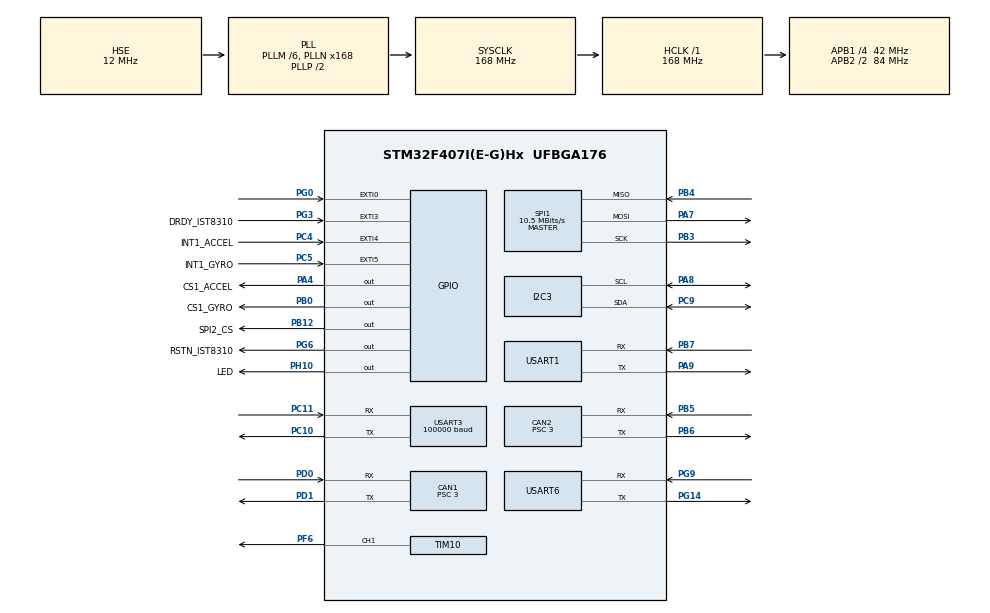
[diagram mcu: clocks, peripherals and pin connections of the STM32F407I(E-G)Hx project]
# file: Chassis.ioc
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CAN1.BS1=CAN_BS1_10TQ
CAN1.BS2=CAN_BS2_3TQ
CAN1.CalculateBaudRate=1000000
CAN1.CalculateTimeBit=1000
CAN1.CalculateTimeQuantum=71.42857142857143
CAN1.Prescaler=3
CAN2.BS1=CAN_BS1_10TQ
CAN2.BS2=CAN_BS2_3TQ
CAN2.CalculateBaudRate=1000000
CAN2.CalculateTimeBit=1000
CAN2.CalculateTimeQuantum=71.42857142857143
CAN2.Prescaler=3
Dma.Request0=SPI1_TX
Dma.Request1=USART3_RX
Dma.Request2=USART3_TX
Dma.Request3=USART6_RX
Dma.Request4=USART6_TX
Dma.Request5=USART1_RX
Dma.Request6=USART1_TX
Dma.Request7=SPI1_RX
Dma.SPI1_RX.7.Direction=DMA_PERIPH_TO_MEMORY
Dma.SPI1_RX.7.FIFOMode=DMA_FIFOMODE_DISABLE
Dma.SPI1_RX.7.Instance=DMA2_Stream2
Dma.SPI1_RX.7.MemDataAlignment=DMA_MDATAALIGN_BYTE
Dma.SPI1_RX.7.MemInc=DMA_MINC_ENABLE
Dma.SPI1_RX.7.Mode=DMA_NORMAL
Dma.SPI1_RX.7.PeriphDataAlignment=DMA_PDATAALIGN_BYTE
Dma.SPI1_RX.7.PeriphInc=DMA_PINC_DISABLE
Dma.SPI1_RX.7.Priority=DMA_PRIORITY_VERY_HIGH
Dma.SPI1_TX.0.Direction=DMA_MEMORY_TO_PERIPH
Dma.SPI1_TX.0.FIFOMode=DMA_FIFOMODE_DISABLE
Dma.SPI1_TX.0.Instance=DMA2_Stream3
Dma.SPI1_TX.0.MemDataAlignment=DMA_MDATAALIGN_BYTE
Dma.SPI1_TX.0.MemInc=DMA_MINC_ENABLE
Dma.SPI1_TX.0.Mode=DMA_NORMAL
Dma.SPI1_TX.0.PeriphDataAlignment=DMA_PDATAALIGN_BYTE
Dma.SPI1_TX.0.PeriphInc=DMA_PINC_DISABLE
Dma.SPI1_TX.0.Priority=DMA_PRIORITY_HIGH
Dma.USART1_RX.5.Direction=DMA_PERIPH_TO_MEMORY
Dma.USART1_RX.5.FIFOMode=DMA_FIFOMODE_DISABLE
Dma.USART1_RX.5.Instance=DMA2_Stream5
Dma.USART1_RX.5.MemDataAlignment=DMA_MDATAALIGN_BYTE
Dma.USART1_RX.5.MemInc=DMA_MINC_ENABLE
Dma.USART1_RX.5.Mode=DMA_NORMAL
Dma.USART1_RX.5.PeriphDataAlignment=DMA_PDATAALIGN_BYTE
Dma.USART1_RX.5.PeriphInc=DMA_PINC_DISABLE
Dma.USART1_RX.5.Priority=DMA_PRIORITY_LOW
Dma.USART1_TX.6.Direction=DMA_MEMORY_TO_PERIPH
Dma.USART1_TX.6.FIFOMode=DMA_FIFOMODE_DISABLE
Dma.USART1_TX.6.Instance=DMA2_Stream7
Dma.USART1_TX.6.MemDataAlignment=DMA_MDATAALIGN_BYTE
Dma.USART1_TX.6.MemInc=DMA_MINC_ENABLE
Dma.USART1_TX.6.Mode=DMA_NORMAL
Dma.USART1_TX.6.PeriphDataAlignment=DMA_PDATAALIGN_BYTE
Dma.USART1_TX.6.PeriphInc=DMA_PINC_DISABLE
Dma.USART1_TX.6.Priority=DMA_PRIORITY_LOW
Dma.USART3_RX.1.Direction=DMA_PERIPH_TO_MEMORY
Dma.USART3_RX.1.FIFOMode=DMA_FIFOMODE_DISABLE
Dma.USART3_RX.1.Instance=DMA1_Stream1
Dma.USART3_RX.1.MemDataAlignment=DMA_MDATAALIGN_BYTE
Dma.USART3_RX.1.MemInc=DMA_MINC_ENABLE
Dma.USART3_RX.1.Mode=DMA_CIRCULAR
Dma.USART3_RX.1.PeriphDataAlignment=DMA_PDATAALIGN_BYTE
Dma.USART3_RX.1.PeriphInc=DMA_PINC_DISABLE
Dma.USART3_RX.1.Priority=DMA_PRIORITY_VERY_HIGH
Dma.USART3_TX.2.Direction=DMA_MEMORY_TO_PERIPH
Dma.USART3_TX.2.FIFOMode=DMA_FIFOMODE_DISABLE
Dma.USART3_TX.2.Instance=DMA1_Stream3
Dma.USART3_TX.2.MemDataAlignment=DMA_MDATAALIGN_BYTE
Dma.USART3_TX.2.MemInc=DMA_MINC_ENABLE
Dma.USART3_TX.2.Mode=DMA_NORMAL
Dma.USART3_TX.2.PeriphDataAlignment=DMA_PDATAALIGN_BYTE
Dma.USART3_TX.2.PeriphInc=DMA_PINC_DISABLE
Dma.USART3_TX.2.Priority=DMA_PRIORITY_VERY_HIGH
Dma.USART6_RX.3.Direction=DMA_PERIPH_TO_MEMORY
Dma.USART6_RX.3.FIFOMode=DMA_FIFOMODE_DISABLE
Dma.USART6_RX.3.Instance=DMA2_Stream1
Dma.USART6_RX.3.MemDataAlignment=DMA_MDATAALIGN_BYTE
Dma.USART6_RX.3.MemInc=DMA_MINC_ENABLE
Dma.USART6_RX.3.Mode=DMA_CIRCULAR
Dma.USART6_RX.3.PeriphDataAlignment=DMA_PDATAALIGN_BYTE
Dma.USART6_RX.3.PeriphInc=DMA_PINC_DISABLE
Dma.USART6_RX.3.Priority=DMA_PRIORITY_LOW
Dma.USART6_TX.4.Direction=DMA_MEMORY_TO_PERIPH
Dma.USART6_TX.4.FIFOMode=DMA_FIFOMODE_DISABLE
Dma.USART6_TX.4.Instance=DMA2_Stream6
Dma.USART6_TX.4.MemDataAlignment=DMA_MDATAALIGN_BYTE
Dma.USART6_TX.4.MemInc=DMA_MINC_ENABLE
Dma.USART6_TX.4.Mode=DMA_NORMAL
Dma.USART6_TX.4.PeriphDataAlignment=DMA_PDATAALIGN_BYTE
Dma.USART6_TX.4.PeriphInc=DMA_PINC_DISABLE
Dma.USART6_TX.4.Priority=DMA_PRIORITY_LOW
FREERTOS.Tasks01=defaultTask,0,128,StartDefaultTask,Default,NULL,Dynamic,NULL,NULL
I2C3.I2C_Mode=I2C_Fast
Mcu.Family=STM32F4
Mcu.Name=STM32F407I(E-G)Hx
Mcu.Package=UFBGA176
NVIC.CAN1_RX0_IRQn=true\:5\:0\:false\:false\:true\:true\:true\:true\:true
NVIC.CAN1_RX1_IRQn=true\:5\:0\:false\:false\:true\:true\:true\:true\:true
NVIC.CAN1_TX_IRQn=true\:5\:0\:false\:false\:true\:true\:true\:true\:true
NVIC.CAN2_RX0_IRQn=true\:5\:0\:true\:false\:true\:true\:true\:true\:true
NVIC.CAN2_TX_IRQn=true\:5\:0\:true\:false\:true\:true\:true\:true\:true
NVIC.DMA1_Stream1_IRQn=true\:5\:0\:false\:false\:true\:true\:false\:true\:true
NVIC.DMA1_Stream3_IRQn=true\:5\:0\:false\:false\:true\:true\:false\:true\:true
NVIC.DMA2_Stream1_IRQn=true\:5\:0\:false\:false\:true\:true\:false\:true\:true
NVIC.DMA2_Stream2_IRQn=true\:5\:0\:false\:false\:true\:true\:false\:true\:true
NVIC.DMA2_Stream3_IRQn=true\:5\:0\:false\:false\:true\:true\:false\:true\:true
NVIC.DMA2_Stream5_IRQn=true\:5\:0\:false\:false\:true\:true\:false\:true\:true
NVIC.DMA2_Stream6_IRQn=true\:5\:0\:false\:false\:true\:true\:false\:true\:true
NVIC.DMA2_Stream7_IRQn=true\:5\:0\:false\:false\:true\:true\:false\:true\:true
NVIC.EXTI0_IRQn=true\:6\:0\:true\:false\:true\:true\:true\:true\:true
NVIC.EXTI4_IRQn=true\:5\:0\:false\:false\:true\:true\:true\:true\:true
NVIC.EXTI9_5_IRQn=true\:5\:0\:false\:false\:true\:true\:true\:true\:true
NVIC.PriorityGroup=NVIC_PRIORITYGROUP_4
NVIC.SPI1_IRQn=true\:5\:0\:false\:false\:true\:true\:true\:true\:true
NVIC.TIM3_IRQn=true\:15\:0\:false\:false\:true\:false\:false\:true\:true
NVIC.TimeBase=TIM3_IRQn
NVIC.TimeBaseIP=TIM3
NVIC.USART1_IRQn=true\:5\:0\:false\:false\:true\:true\:true\:true\:true
NVIC.USART3_IRQn=true\:5\:0\:false\:false\:true\:true\:true\:true\:true
NVIC.USART6_IRQn=true\:5\:0\:false\:false\:true\:true\:true\:true\:true
PA13.Mode=Serial_Wire
PA13.Signal=SYS_JTMS-SWDIO
PA14.Mode=Serial_Wire
PA14.Signal=SYS_JTCK-SWCLK
PA4.GPIO_Label=CS1_ACCEL
PA4.GPIO_ModeDefaultOutputPP=GPIO_MODE_OUTPUT_PP
PA4.GPIO_PuPd=GPIO_PULLUP
PA4.GPIO_Speed=GPIO_SPEED_FREQ_HIGH
PA4.PinState=GPIO_PIN_SET
PA4.Signal=GPIO_Output
PA7.GPIO_PuPd=GPIO_PULLUP
PA7.Mode=Full_Duplex_Master
PA7.Signal=SPI1_MOSI
PA8.Mode=I2C
PA8.Signal=I2C3_SCL
PA9.Mode=Asynchronous
PA9.Signal=USART1_TX
PB0.GPIO_Label=CS1_GYRO
PB0.GPIO_ModeDefaultOutputPP=GPIO_MODE_OUTPUT_PP
PB0.GPIO_PuPd=GPIO_PULLUP
PB0.GPIO_Speed=GPIO_SPEED_FREQ_HIGH
PB0.PinState=GPIO_PIN_SET
PB0.Signal=GPIO_Output
PB12.GPIO_Label=SPI2_CS
PB12.GPIO_ModeDefaultOutputPP=GPIO_MODE_OUTPUT_PP
PB12.GPIO_PuPd=GPIO_PULLUP
PB12.GPIO_Speed=GPIO_SPEED_FREQ_MEDIUM
PB12.PinState=GPIO_PIN_SET
PB12.Signal=GPIO_Output
PB3.GPIO_PuPd=GPIO_PULLUP
PB3.Mode=Full_Duplex_Master
PB3.Signal=SPI1_SCK
PB4.GPIO_PuPd=GPIO_PULLUP
PB4.Mode=Full_Duplex_Master
PB4.Signal=SPI1_MISO
PB5.Mode=CAN_Activate
PB5.Signal=CAN2_RX
PB6.Mode=CAN_Activate
PB6.Signal=CAN2_TX
PB7.Mode=Asynchronous
PB7.Signal=USART1_RX
PC10.Mode=Asynchronous
PC10.Signal=USART3_TX
PC11.Mode=Asynchronous
PC11.Signal=USART3_RX
PC4.GPIO_Label=INT1_ACCEL
PC4.GPIO_PuPd=GPIO_PULLUP
PC4.Signal=GPXTI4
PC5.GPIO_Label=INT1_GYRO
PC5.GPIO_PuPd=GPIO_PULLUP
PC5.Signal=GPXTI5
PC9.Mode=I2C
PC9.Signal=I2C3_SDA
PD0.Mode=CAN_Activate
PD0.Signal=CAN1_RX
PD1.Mode=CAN_Activate
PD1.Signal=CAN1_TX
PF6.GPIO_PuPd=GPIO_PULLUP
PF6.GPIO_Speed=GPIO_SPEED_FREQ_HIGH
PF6.Signal=S_TIM10_CH1
PG0.GPIO_PuPd=GPIO_PULLUP
PG0.Signal=GPXTI0
PG14.Mode=Asynchronous
PG14.Signal=USART6_TX
PG3.GPIO_Label=DRDY_IST8310
PG3.GPIO_PuPd=GPIO_PULLUP
PG3.Signal=GPXTI3
PG6.GPIO_Label=RSTN_IST8310
PG6.GPIO_PuPd=GPIO_PULLUP
PG6.GPIO_Speed=GPIO_SPEED_FREQ_MEDIUM
PG6.PinState=GPIO_PIN_SET
PG6.Signal=GPIO_Output
PG9.Mode=Asynchronous
PG9.Signal=USART6_RX
PH0-OSC_IN.Mode=HSE-External-Oscillator
PH0-OSC_IN.Signal=RCC_OSC_IN
PH1-OSC_OUT.Mode=HSE-External-Oscillator
PH1-OSC_OUT.Signal=RCC_OSC_OUT
PH10.GPIO_Label=LED
PH10.GPIO_ModeDefaultOutputPP=GPIO_MODE_OUTPUT_PP
PH10.GPIO_PuPd=GPIO_PULLUP
PH10.PinState=GPIO_PIN_SET
PH10.Signal=GPIO_Output
ProjectManager.HeapSize=0x200
ProjectManager.StackSize=0x400
ProjectManager.TargetToolchain=MDK-ARM V5.32
RCC.48MHZClocksFreq_Value=84000000
RCC.AHBFreq_Value=168000000
RCC.APB1CLKDivider=RCC_HCLK_DIV4
RCC.APB1Freq_Value=42000000
RCC.APB1TimFreq_Value=84000000
RCC.APB2CLKDivider=RCC_HCLK_DIV2
RCC.APB2Freq_Value=84000000
RCC.APB2TimFreq_Value=168000000
RCC.CortexFreq_Value=168000000
RCC.HCLKFreq_Value=168000000
RCC.HSE_VALUE=12000000
RCC.HSI_VALUE=16000000
RCC.LSE_VALUE=32768
RCC.PLLM=6
RCC.PLLN=168
RCC.PLLSourceVirtual=RCC_PLLSOURCE_HSE
RCC.SYSCLKFreq_VALUE=168000000
RCC.SYSCLKSource=RCC_SYSCLKSOURCE_PLLCLK
RCC.VCOOutputFreq_Value=336000000
SH.S_TIM10_CH1.0=TIM10_CH1,PWM Generation1 CH1
SPI1.BaudRatePrescaler=SPI_BAUDRATEPRESCALER_8
SPI1.CLKPhase=SPI_PHASE_2EDGE
SPI1.CLKPolarity=SPI_POLARITY_HIGH
SPI1.CalculateBaudRate=10.5 MBits/s
SPI1.Direction=SPI_DIRECTION_2LINES
SPI1.Mode=SPI_MODE_MASTER
SPI1.VirtualType=VM_MASTER
TIM10.Channel=TIM_CHANNEL_1
USART1.VirtualMode=VM_ASYNC
USART3.BaudRate=100000
USART3.VirtualMode=VM_ASYNC
USART6.VirtualMode=VM_ASYNC
VP_FREERTOS_VS_CMSIS_V1.Mode=CMSIS_V1
VP_SYS_VS_tim3.Mode=TIM3
VP_TIM10_VS_ClockSourceINT.Mode=Enable_Timer
board=custom

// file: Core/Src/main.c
/* USER CODE BEGIN Header */
/**
  ******************************************************************************
  * @file           : main.c
  * @brief          : Main program body
  ******************************************************************************
  * @attention
  *
  * Copyright (c) 2023 STMicroelectronics.
  * All rights reserved.
  *
  * This software is licensed under terms that can be found in the LICENSE file
  * in the root directory of this software component.
  * If no LICENSE file comes with this software, it is provided AS-IS.
  *
  ******************************************************************************
  */
/* USER CODE END Header */
#include "main.h"
#include "cmsis_os.h"
#include "can.h"
#include "dma.h"
#include "i2c.h"
#include "spi.h"
#include "tim.h"
#include "usart.h"
#include "gpio.h"

/* USER CODE BEGIN Includes */
#include "drv_usart.h"
#include "user_can.h"
#include "communication.h"
#include "string.h"
#include "bsp_delay.h"
/* USER CODE END Includes */

void SystemClock_Config(void);
void MX_FREERTOS_Init(void);

/* USER CODE BEGIN 0 */
uint8_t Rx[128]; //导航接受�?
/* USER CODE END 0 */

int main(void)
{

  /* MCU Configuration--------------------------------------------------------*/

  /* Reset of all peripherals, Initializes the Flash interface and the Systick. */
  HAL_Init();

  /* Configure the system clock */
  SystemClock_Config();

  /* Initialize all configured peripherals */
  MX_GPIO_Init();
  MX_DMA_Init();
  MX_CAN2_Init();
  MX_CAN1_Init();
  MX_SPI1_Init();
  MX_I2C3_Init();
  MX_USART3_UART_Init();
  MX_USART6_UART_Init();
  MX_USART1_UART_Init();
  MX_TIM10_Init();
  /* USER CODE BEGIN 2 */
	delay_init();
	HAL_TIM_PWM_Start(&htim10,TIM_CHANNEL_1);
	CAN1_Init();
	CAN2_Init();
  HAL_GPIO_WritePin(LED_GPIO_Port, LED_Pin, GPIO_PIN_SET);
	USART3_Init();

	__HAL_UART_ENABLE_IT(&huart1,UART_IT_IDLE); //导航数据接收
	HAL_UART_Receive_DMA(&huart1,(uint8_t *)Rx,sizeof(Rx));
  /* USER CODE END 2 */

  /* Call init function for freertos objects (in freertos.c) */
  MX_FREERTOS_Init();

  /* Start scheduler */
  osKernelStart();

  /* We should never get here as control is now taken by the scheduler */
  /* Infinite loop */
  while (1)
  {

  }
}

void SystemClock_Config(void)
{
  RCC_OscInitTypeDef RCC_OscInitStruct = {0};
  RCC_ClkInitTypeDef RCC_ClkInitStruct = {0};

  /** Configure the main internal regulator output voltage
  */
  __HAL_RCC_PWR_CLK_ENABLE();
  __HAL_PWR_VOLTAGESCALING_CONFIG(PWR_REGULATOR_VOLTAGE_SCALE1);

  /** Initializes the RCC Oscillators according to the specified parameters
  * in the RCC_OscInitTypeDef structure.
  */
  RCC_OscInitStruct.OscillatorType = RCC_OSCILLATORTYPE_HSE;
  RCC_OscInitStruct.HSEState = RCC_HSE_ON;
  RCC_OscInitStruct.PLL.PLLState = RCC_PLL_ON;
  RCC_OscInitStruct.PLL.PLLSource = RCC_PLLSOURCE_HSE;
  RCC_OscInitStruct.PLL.PLLM = 6;
  RCC_OscInitStruct.PLL.PLLN = 168;
  RCC_OscInitStruct.PLL.PLLP = RCC_PLLP_DIV2;
  RCC_OscInitStruct.PLL.PLLQ = 4;
  if (HAL_RCC_OscConfig(&RCC_OscInitStruct) != HAL_OK)
  {
    Error_Handler();
  }

  /** Initializes the CPU, AHB and APB buses clocks
  */
  RCC_ClkInitStruct.ClockType = RCC_CLOCKTYPE_HCLK|RCC_CLOCKTYPE_SYSCLK
                              |RCC_CLOCKTYPE_PCLK1|RCC_CLOCKTYPE_PCLK2;
  RCC_ClkInitStruct.SYSCLKSource = RCC_SYSCLKSOURCE_PLLCLK;
  RCC_ClkInitStruct.AHBCLKDivider = RCC_SYSCLK_DIV1;
  RCC_ClkInitStruct.APB1CLKDivider = RCC_HCLK_DIV4;
  RCC_ClkInitStruct.APB2CLKDivider = RCC_HCLK_DIV2;

  if (HAL_RCC_ClockConfig(&RCC_ClkInitStruct, FLASH_LATENCY_5) != HAL_OK)
  {
    Error_Handler();
  }
}

void HAL_TIM_PeriodElapsedCallback(TIM_HandleTypeDef *htim)
{
  if (htim->Instance == TIM3) {
    HAL_IncTick();
  }
}

void Error_Handler(void)
{
  __disable_irq();
  while (1)
  {
  }
}

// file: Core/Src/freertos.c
/* USER CODE BEGIN Header */
/**
  ******************************************************************************
  * File Name          : freertos.c
  * Description        : Code for freertos applications
  ******************************************************************************
  * @attention
  *
  * Copyright (c) 2023 STMicroelectronics.
  * All rights reserved.
  *
  * This software is licensed under terms that can be found in the LICENSE file
  * in the root directory of this software component.
  * If no LICENSE file comes with this software, it is provided AS-IS.
  *
  ******************************************************************************
  */
/* USER CODE END Header */

#include "FreeRTOS.h"
#include "task.h"
#include "main.h"
#include "cmsis_os.h"

/* USER CODE BEGIN Includes */
#include "chassis.h"
#include "rc_potocal.h"
#include "INS_task.h"
/* USER CODE END Includes */

/* USER CODE BEGIN Variables */
osThreadId ChassisHandle;
osThreadId InsTaskHandle;
/* USER CODE END Variables */
osThreadId defaultTaskHandle;

void StartDefaultTask(void const * argument);

void MX_FREERTOS_Init(void); /* (MISRA C 2004 rule 8.1) */

/* GetIdleTaskMemory prototype (linked to static allocation support) */
void vApplicationGetIdleTaskMemory( StaticTask_t **ppxIdleTaskTCBBuffer, StackType_t **ppxIdleTaskStackBuffer, uint32_t *pulIdleTaskStackSize );

/* USER CODE BEGIN GET_IDLE_TASK_MEMORY */
static StaticTask_t xIdleTaskTCBBuffer;
static StackType_t xIdleStack[configMINIMAL_STACK_SIZE];

void vApplicationGetIdleTaskMemory( StaticTask_t **ppxIdleTaskTCBBuffer, StackType_t **ppxIdleTaskStackBuffer, uint32_t *pulIdleTaskStackSize )
{
  *ppxIdleTaskTCBBuffer = &xIdleTaskTCBBuffer;
  *ppxIdleTaskStackBuffer = &xIdleStack[0];
  *pulIdleTaskStackSize = configMINIMAL_STACK_SIZE;
  /* place for user code */
}
/* USER CODE END GET_IDLE_TASK_MEMORY */

void MX_FREERTOS_Init(void) {

  /* Create the thread(s) */
  /* definition and creation of defaultTask */
  osThreadDef(defaultTask, StartDefaultTask, osPriorityNormal, 0, 128);
  defaultTaskHandle = osThreadCreate(osThread(defaultTask), NULL);

  /* USER CODE BEGIN RTOS_THREADS */
  osThreadDef(Receive,Chassis,osPriorityNormal,0,1024);
  ChassisHandle = osThreadCreate(osThread(Receive),NULL);

	osThreadDef(InsTask,INS_task,osPriorityNormal,0,1024);
	InsTaskHandle = osThreadCreate(osThread(InsTask),NULL);
  /* USER CODE END RTOS_THREADS */

}

void StartDefaultTask(void const * argument)
{
  for(;;)
  {
    osDelay(1);
  }
}
